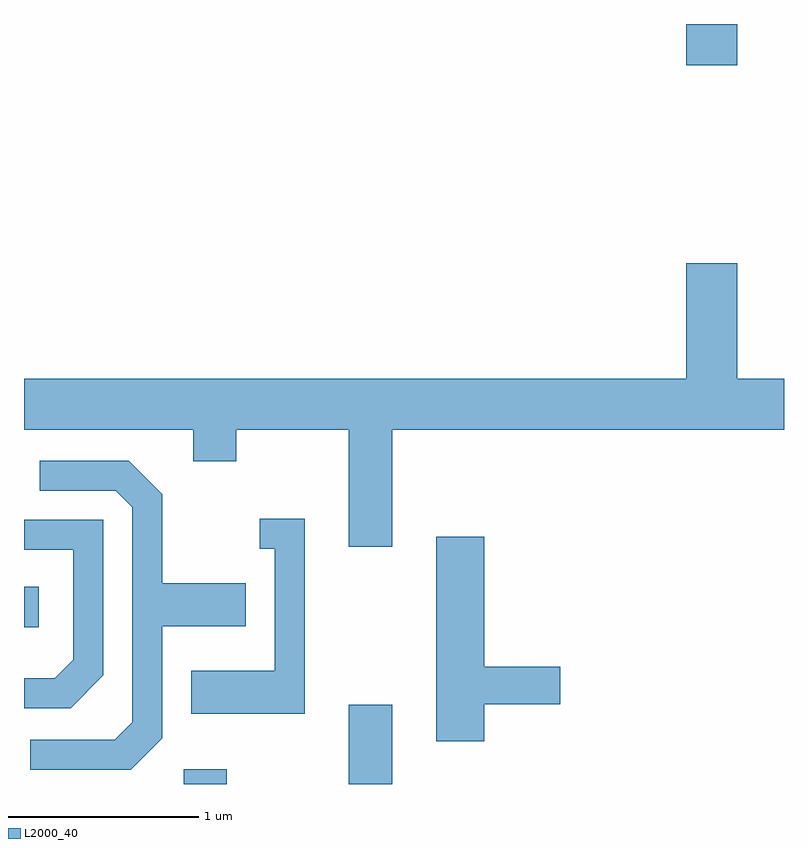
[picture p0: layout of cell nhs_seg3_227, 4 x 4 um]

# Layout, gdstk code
import gdstk
lib = gdstk.Library(unit=1e-6, precision=1e-09)
def R(c, l, rs):  # rectangles x0, y0, x1, y1
    for r in rs: c.add(gdstk.rectangle(r[:2], r[2:], *l))
def P(c, l, *ps):  # polygons
    for p in ps: c.add(gdstk.Polygon(p, *l))
L2000_40 = (2000, 40)

nhs_seg3_227 = lib.new_cell('nhs_seg3_227')
R(nhs_seg3_227, L2000_40, [(192.451,1161.892,192.679,1161.969), (193.321,1161.892,193.549,1162.309), (191.611,1162.716,191.689,1162.929), (195.096,1165.676,195.364,1165.892)])
P(nhs_seg3_227, L2000_40, [(193.549,1163.756),(195.611,1163.756),(195.611,1164.024),(195.364,1164.024),(195.364,1164.634),(195.096,1164.634),(195.096,1164.024),(191.611,1164.024),(191.611,1163.756),(192.501,1163.756),(192.501,1163.591),(192.729,1163.591),(192.729,1163.756),(193.321,1163.756),(193.321,1163.141),(193.549,1163.141)],
  [(192.339,1162.134),(192.339,1162.721),(192.779,1162.721),(192.779,1162.949),(192.339,1162.949),(192.339,1163.417),(192.162,1163.594),(191.693,1163.594),(191.693,1163.436),(192.094,1163.436),(192.181,1163.349),(192.181,1162.217),(192.089,1162.124),(191.643,1162.124),(191.643,1161.966),(192.172,1161.966)],
  [(193.089,1163.289),(192.853,1163.289),(192.853,1163.131),(192.931,1163.131),(192.931,1162.489),(192.491,1162.489),(192.491,1162.261),(193.089,1162.261)],
  [(192.029,1162.464),(192.029,1163.284),(191.611,1163.284),(191.611,1163.126),(191.871,1163.126),(191.871,1162.547),(191.774,1162.449),(191.611,1162.449),(191.611,1162.291),(191.857,1162.291)],
  [(194.034,1162.311),(194.434,1162.311),(194.434,1162.509),(194.034,1162.509),(194.034,1163.194),(193.781,1163.194),(193.781,1162.116),(194.034,1162.116)])

lib.write_gds('nhs_seg3_227.gds')
